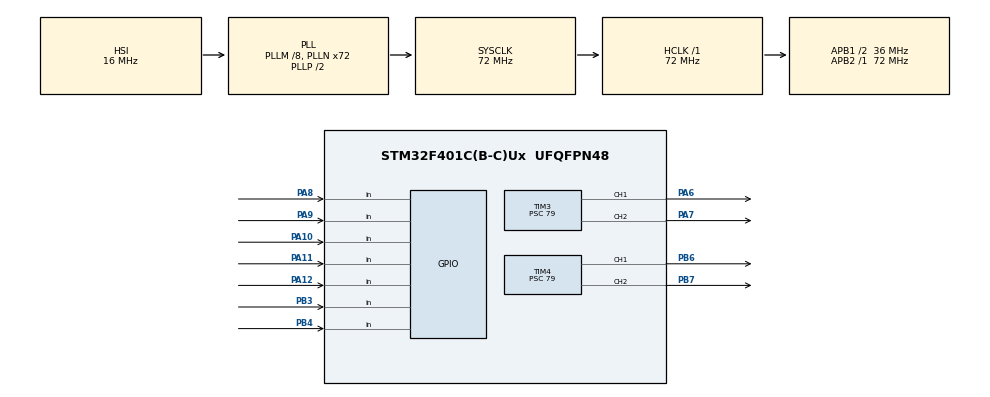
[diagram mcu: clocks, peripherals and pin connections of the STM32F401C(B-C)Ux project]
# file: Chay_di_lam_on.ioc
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Mcu.Family=STM32F4
Mcu.Name=STM32F401C(B-C)Ux
Mcu.Package=UFQFPN48
NVIC.PriorityGroup=NVIC_PRIORITYGROUP_4
PA10.Signal=GPIO_Input
PA11.Signal=GPIO_Input
PA12.Signal=GPIO_Input
PA13.Mode=Serial_Wire
PA13.Signal=SYS_JTMS-SWDIO
PA14.Mode=Serial_Wire
PA14.Signal=SYS_JTCK-SWCLK
PA6.Signal=S_TIM3_CH1
PA7.Signal=S_TIM3_CH2
PA8.Signal=GPIO_Input
PA9.Signal=GPIO_Input
PB3.Signal=GPIO_Input
PB4.Signal=GPIO_Input
PB6.Signal=S_TIM4_CH1
PB7.Signal=S_TIM4_CH2
PH0\ -\ OSC_IN.Mode=HSE-External-Oscillator
PH0\ -\ OSC_IN.Signal=RCC_OSC_IN
PH1\ -\ OSC_OUT.Mode=HSE-External-Oscillator
PH1\ -\ OSC_OUT.Signal=RCC_OSC_OUT
ProjectManager.HeapSize=0x200
ProjectManager.StackSize=0x400
ProjectManager.TargetToolchain=STM32CubeIDE
RCC.48MHZClocksFreq_Value=36000000
RCC.AHBFreq_Value=72000000
RCC.APB1CLKDivider=RCC_HCLK_DIV2
RCC.APB1Freq_Value=36000000
RCC.APB1TimFreq_Value=72000000
RCC.APB2Freq_Value=72000000
RCC.APB2TimFreq_Value=72000000
RCC.CortexFreq_Value=72000000
RCC.HCLKFreq_Value=72000000
RCC.HSE_VALUE=25000000
RCC.HSI_VALUE=16000000
RCC.LSE_VALUE=32768
RCC.PLLM=8
RCC.PLLN=72
RCC.SYSCLKFreq_VALUE=72000000
RCC.SYSCLKSource=RCC_SYSCLKSOURCE_PLLCLK
RCC.VCOOutputFreq_Value=144000000
SH.S_TIM3_CH1.0=TIM3_CH1,PWM Generation1 CH1
SH.S_TIM3_CH2.0=TIM3_CH2,PWM Generation2 CH2
SH.S_TIM4_CH1.0=TIM4_CH1,PWM Generation1 CH1
SH.S_TIM4_CH2.0=TIM4_CH2,PWM Generation2 CH2
TIM3.Channel-PWM\ Generation1\ CH1=TIM_CHANNEL_1
TIM3.Channel-PWM\ Generation2\ CH2=TIM_CHANNEL_2
TIM3.Period=999
TIM3.Prescaler=79
TIM3.Pulse-PWM\ Generation1\ CH1=199
TIM3.Pulse-PWM\ Generation2\ CH2=199
TIM4.Channel-PWM\ Generation1\ CH1=TIM_CHANNEL_1
TIM4.Channel-PWM\ Generation2\ CH2=TIM_CHANNEL_2
TIM4.Period=999
TIM4.Prescaler=79
TIM4.Pulse-PWM\ Generation1\ CH1=199
TIM4.Pulse-PWM\ Generation2\ CH2=199
VP_TIM3_VS_ClockSourceINT.Mode=Internal
VP_TIM4_VS_ClockSourceINT.Mode=Internal
board=custom

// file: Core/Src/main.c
/* USER CODE BEGIN Header */
/**
  ******************************************************************************
  * @file           : main.c
  * @brief          : Main program body
  ******************************************************************************
  * @attention
  *
  * Copyright (c) 2024 STMicroelectronics.
  * All rights reserved.
  *
  * This software is licensed under terms that can be found in the LICENSE file
  * in the root directory of this software component.
  * If no LICENSE file comes with this software, it is provided AS-IS.
  *
  ******************************************************************************
  */
/* USER CODE END Header */
#include "main.h"

TIM_HandleTypeDef htim3;
TIM_HandleTypeDef htim4;

/* USER CODE BEGIN PV */
int position;
	float Kp = 0.006;
	float Ki = 0;
	float Kd = 0.03;
	int P,I,D, lastError;
	int errors[10] = {0,0,0,0,0,0,0,0,0,0};
	int error_sum = 0;
	int last_end; // 0 left, 1 right;
	int cnt = 0;
	const int ARR = 10;
	int actives = 0;
/* USER CODE END PV */

void SystemClock_Config(void);
static void MX_GPIO_Init(void);
static void MX_TIM3_Init(void);
static void MX_TIM4_Init(void);

/* USER CODE BEGIN 0 */
void motor_control (double pos_left, double pos_right){
		int left_case = (pos_left < 0) ? -1 : (pos_left > 0) ? 1 : 0;
	    int right_case = (pos_right < 0) ? -1 : (pos_right > 0) ? 1 : 0;

	    switch(left_case)
	    {
	        case -1:  // pos_left < 0
	            __HAL_TIM_SET_COMPARE(&htim3, TIM_CHANNEL_1, ARR*0);
	            __HAL_TIM_SET_COMPARE(&htim3, TIM_CHANNEL_2, -ARR*pos_left);
	            break;

	        case 1:  // pos_left > 0
	            __HAL_TIM_SET_COMPARE(&htim3, TIM_CHANNEL_1, ARR*pos_left);
	            __HAL_TIM_SET_COMPARE(&htim3, TIM_CHANNEL_2, ARR*0);
	            break;

	        case 0:  // pos_left == 0
	            __HAL_TIM_SET_COMPARE(&htim3, TIM_CHANNEL_1, ARR*0);
	            __HAL_TIM_SET_COMPARE(&htim3, TIM_CHANNEL_2, ARR*0);
	            break;
	    }

	    switch(right_case)
	    {
	        case -1:  // pos_right < 0
	            __HAL_TIM_SET_COMPARE(&htim4, TIM_CHANNEL_1, ARR*0);
	            __HAL_TIM_SET_COMPARE(&htim4, TIM_CHANNEL_2, -ARR*pos_right);
	            break;

	        case 1:  // pos_right > 0
	            __HAL_TIM_SET_COMPARE(&htim4, TIM_CHANNEL_1, ARR*pos_right);
	            __HAL_TIM_SET_COMPARE(&htim4, TIM_CHANNEL_2, ARR*0);
	            break;

	        case 0:  // pos_right == 0
	            __HAL_TIM_SET_COMPARE(&htim4, TIM_CHANNEL_1, ARR*0);
	            __HAL_TIM_SET_COMPARE(&htim4, TIM_CHANNEL_2, ARR*0);
	            break;
	    }
}
void sharp_turn(int act, int last_ends, int speedleft, int speedright){
//	if(act == 0){
//		cnt++;
//	}else cnt = 0;

	if(act == 0){
		switch(last_ends){
		case 1:
			motor_control(-10,40);
			break;
		case 2:
			motor_control(40,-10);
			break;
		case 3:
			motor_control(40,40);
			break;
		}
	}else motor_control(speedleft, speedright);
}
//void past_errors (int error)
//{
//  for (int i = 9; i > 0; i--)
//      errors[i] = errors[i-1];
//      errors[0] = error;
//}

int errors_sum (int index, int abs)
{
  int sum = 0;
  for (int i = 0; i < index; i++)
  {
    if (abs == 1 && errors[i] < 0)
      sum += -errors[i];
    else
      sum += errors[i];
  }
  return sum;
}
void stop(){
  motor_control(0,0);
}
/* USER CODE END 0 */

int main(void)
{

  /* MCU Configuration--------------------------------------------------------*/

  /* Reset of all peripherals, Initializes the Flash interface and the Systick. */
  HAL_Init();

  /* Configure the system clock */
  SystemClock_Config();

  /* Initialize all configured peripherals */
  MX_GPIO_Init();
  MX_TIM3_Init();
  MX_TIM4_Init();
  /* USER CODE BEGIN 2 */
  HAL_TIM_PWM_Start(&htim3, TIM_CHANNEL_1);
  HAL_TIM_PWM_Start(&htim3, TIM_CHANNEL_2);
  HAL_TIM_PWM_Start(&htim4, TIM_CHANNEL_1);
  HAL_TIM_PWM_Start(&htim4, TIM_CHANNEL_2);
  /* USER CODE END 2 */

  /* Infinite loop */
  while (1)
  {

    /* USER CODE BEGIN 3 */
	  int pos = 0;
	  int active = 0;
	  GPIO_PinState Sensor1State = HAL_GPIO_ReadPin(GPIOA, GPIO_PIN_8);
	  GPIO_PinState Sensor2State = HAL_GPIO_ReadPin(GPIOA, GPIO_PIN_9);
	  GPIO_PinState Sensor3State = HAL_GPIO_ReadPin(GPIOA, GPIO_PIN_10);
	  GPIO_PinState Sensor4State = HAL_GPIO_ReadPin(GPIOA, GPIO_PIN_11);
	  GPIO_PinState Sensor5State = HAL_GPIO_ReadPin(GPIOA, GPIO_PIN_12);
	  GPIO_PinState Sensor6State = HAL_GPIO_ReadPin(GPIOB, GPIO_PIN_4);
	  GPIO_PinState Sensor7State = HAL_GPIO_ReadPin(GPIOB, GPIO_PIN_3);

	  if(Sensor3State == GPIO_PIN_SET){
		  HAL_GPIO_WritePin(GPIOA,GPIO_PIN_2,1);
	  }else HAL_GPIO_WritePin(GPIOA,GPIO_PIN_2,0);

	  int SensorStates[] = {Sensor1State, Sensor2State, Sensor3State, Sensor4State, Sensor5State};
	  int increments[] = {1200, 2400, 3000, 3600, 4800};

	  for (int i = 0; i < 5; i++) {
	      if (SensorStates[i] == GPIO_PIN_SET) {
	          pos += increments[i];
	          active++;

//	          if (i == 0) {  // sensor1
//	              last_end = 1;
//	          } else if (i == 4) {  // sensor5
//	              last_end = 2 ;
//	          }
	          if(i == 1 || i == 2 || i == 3){
	        	  last_end = 3;
	          }
	      }
	  }

	  if(Sensor6State == GPIO_PIN_SET){
		  last_end = 1;
		  motor_control(-10,40);
	  }
	  else if(Sensor7State == GPIO_PIN_SET){
		  last_end = 2;
		  motor_control(40,-10);

  }
//	  if(Sensor6State == GPIO_PIN_SET && active == 0){
//		  motor_control(-10,-10);
//	  }else if(Sensor7State == GPIO_PIN_SET && active == 0){
//		  motor_control(-10,-10);
//	  }
//  if(active == 5){
//    stop();
//  }
	  actives = active;
	  int position = pos/active;
	  int error = 3000 - position;
	  P = error;
	  I = errors_sum(5, 0);
	  D = error - lastError;
	  lastError = error;
	  int motorspeed = P*Kp+ I*Ki + D*Kd;
	  int speedleft= 40 - motorspeed;
	  int speedright= 40 + motorspeed;
//	  if(speedleft > 33) speedleft = 33;
//	  if(speedright > 33) speedright = 33;
//	  if(speedleft < -20) speedleft = -20;
//	  if(speedright < -20) speedright = -20;
	  sharp_turn(actives, last_end, speedleft, speedright);
  }
  /* USER CODE END 3 */
}

void SystemClock_Config(void)
{
  RCC_OscInitTypeDef RCC_OscInitStruct = {0};
  RCC_ClkInitTypeDef RCC_ClkInitStruct = {0};

  /** Configure the main internal regulator output voltage
  */
  __HAL_RCC_PWR_CLK_ENABLE();
  __HAL_PWR_VOLTAGESCALING_CONFIG(PWR_REGULATOR_VOLTAGE_SCALE2);

  /** Initializes the RCC Oscillators according to the specified parameters
  * in the RCC_OscInitTypeDef structure.
  */
  RCC_OscInitStruct.OscillatorType = RCC_OSCILLATORTYPE_HSI;
  RCC_OscInitStruct.HSIState = RCC_HSI_ON;
  RCC_OscInitStruct.HSICalibrationValue = RCC_HSICALIBRATION_DEFAULT;
  RCC_OscInitStruct.PLL.PLLState = RCC_PLL_ON;
  RCC_OscInitStruct.PLL.PLLSource = RCC_PLLSOURCE_HSI;
  RCC_OscInitStruct.PLL.PLLM = 8;
  RCC_OscInitStruct.PLL.PLLN = 72;
  RCC_OscInitStruct.PLL.PLLP = RCC_PLLP_DIV2;
  RCC_OscInitStruct.PLL.PLLQ = 4;
  if (HAL_RCC_OscConfig(&RCC_OscInitStruct) != HAL_OK)
  {
    Error_Handler();
  }

  /** Initializes the CPU, AHB and APB buses clocks
  */
  RCC_ClkInitStruct.ClockType = RCC_CLOCKTYPE_HCLK|RCC_CLOCKTYPE_SYSCLK
                              |RCC_CLOCKTYPE_PCLK1|RCC_CLOCKTYPE_PCLK2;
  RCC_ClkInitStruct.SYSCLKSource = RCC_SYSCLKSOURCE_PLLCLK;
  RCC_ClkInitStruct.AHBCLKDivider = RCC_SYSCLK_DIV1;
  RCC_ClkInitStruct.APB1CLKDivider = RCC_HCLK_DIV2;
  RCC_ClkInitStruct.APB2CLKDivider = RCC_HCLK_DIV1;

  if (HAL_RCC_ClockConfig(&RCC_ClkInitStruct, FLASH_LATENCY_2) != HAL_OK)
  {
    Error_Handler();
  }
}

static void MX_TIM3_Init(void)
{

  TIM_ClockConfigTypeDef sClockSourceConfig = {0};
  TIM_MasterConfigTypeDef sMasterConfig = {0};
  TIM_OC_InitTypeDef sConfigOC = {0};

  htim3.Instance = TIM3;
  htim3.Init.Prescaler = 79;
  htim3.Init.CounterMode = TIM_COUNTERMODE_UP;
  htim3.Init.Period = 999;
  htim3.Init.ClockDivision = TIM_CLOCKDIVISION_DIV1;
  htim3.Init.AutoReloadPreload = TIM_AUTORELOAD_PRELOAD_DISABLE;
  if (HAL_TIM_Base_Init(&htim3) != HAL_OK)
  {
    Error_Handler();
  }
  sClockSourceConfig.ClockSource = TIM_CLOCKSOURCE_INTERNAL;
  if (HAL_TIM_ConfigClockSource(&htim3, &sClockSourceConfig) != HAL_OK)
  {
    Error_Handler();
  }
  if (HAL_TIM_PWM_Init(&htim3) != HAL_OK)
  {
    Error_Handler();
  }
  sMasterConfig.MasterOutputTrigger = TIM_TRGO_RESET;
  sMasterConfig.MasterSlaveMode = TIM_MASTERSLAVEMODE_DISABLE;
  if (HAL_TIMEx_MasterConfigSynchronization(&htim3, &sMasterConfig) != HAL_OK)
  {
    Error_Handler();
  }
  sConfigOC.OCMode = TIM_OCMODE_PWM1;
  sConfigOC.Pulse = 199;
  sConfigOC.OCPolarity = TIM_OCPOLARITY_HIGH;
  sConfigOC.OCFastMode = TIM_OCFAST_DISABLE;
  if (HAL_TIM_PWM_ConfigChannel(&htim3, &sConfigOC, TIM_CHANNEL_1) != HAL_OK)
  {
    Error_Handler();
  }
  if (HAL_TIM_PWM_ConfigChannel(&htim3, &sConfigOC, TIM_CHANNEL_2) != HAL_OK)
  {
    Error_Handler();
  }
  HAL_TIM_MspPostInit(&htim3);

}

static void MX_TIM4_Init(void)
{

  TIM_ClockConfigTypeDef sClockSourceConfig = {0};
  TIM_MasterConfigTypeDef sMasterConfig = {0};
  TIM_OC_InitTypeDef sConfigOC = {0};

  htim4.Instance = TIM4;
  htim4.Init.Prescaler = 79;
  htim4.Init.CounterMode = TIM_COUNTERMODE_UP;
  htim4.Init.Period = 999;
  htim4.Init.ClockDivision = TIM_CLOCKDIVISION_DIV1;
  htim4.Init.AutoReloadPreload = TIM_AUTORELOAD_PRELOAD_DISABLE;
  if (HAL_TIM_Base_Init(&htim4) != HAL_OK)
  {
    Error_Handler();
  }
  sClockSourceConfig.ClockSource = TIM_CLOCKSOURCE_INTERNAL;
  if (HAL_TIM_ConfigClockSource(&htim4, &sClockSourceConfig) != HAL_OK)
  {
    Error_Handler();
  }
  if (HAL_TIM_PWM_Init(&htim4) != HAL_OK)
  {
    Error_Handler();
  }
  sMasterConfig.MasterOutputTrigger = TIM_TRGO_RESET;
  sMasterConfig.MasterSlaveMode = TIM_MASTERSLAVEMODE_DISABLE;
  if (HAL_TIMEx_MasterConfigSynchronization(&htim4, &sMasterConfig) != HAL_OK)
  {
    Error_Handler();
  }
  sConfigOC.OCMode = TIM_OCMODE_PWM1;
  sConfigOC.Pulse = 199;
  sConfigOC.OCPolarity = TIM_OCPOLARITY_HIGH;
  sConfigOC.OCFastMode = TIM_OCFAST_DISABLE;
  if (HAL_TIM_PWM_ConfigChannel(&htim4, &sConfigOC, TIM_CHANNEL_1) != HAL_OK)
  {
    Error_Handler();
  }
  if (HAL_TIM_PWM_ConfigChannel(&htim4, &sConfigOC, TIM_CHANNEL_2) != HAL_OK)
  {
    Error_Handler();
  }
  HAL_TIM_MspPostInit(&htim4);

}

static void MX_GPIO_Init(void)
{
  GPIO_InitTypeDef GPIO_InitStruct = {0};

  /* GPIO Ports Clock Enable */
  __HAL_RCC_GPIOH_CLK_ENABLE();
  __HAL_RCC_GPIOA_CLK_ENABLE();
  __HAL_RCC_GPIOB_CLK_ENABLE();

  /*Configure GPIO pins : PA8 PA9 PA10 PA11
                           PA12 */
  GPIO_InitStruct.Pin = GPIO_PIN_8|GPIO_PIN_9|GPIO_PIN_10|GPIO_PIN_11
                          |GPIO_PIN_12;
  GPIO_InitStruct.Mode = GPIO_MODE_INPUT;
  GPIO_InitStruct.Pull = GPIO_NOPULL;
  HAL_GPIO_Init(GPIOA, &GPIO_InitStruct);

  /*Configure GPIO pins : PB3 PB4 */
  GPIO_InitStruct.Pin = GPIO_PIN_3|GPIO_PIN_4;
  GPIO_InitStruct.Mode = GPIO_MODE_INPUT;
  GPIO_InitStruct.Pull = GPIO_NOPULL;
  HAL_GPIO_Init(GPIOB, &GPIO_InitStruct);

}

void Error_Handler(void)
{
  __disable_irq();
  while (1)
  {
  }
}
